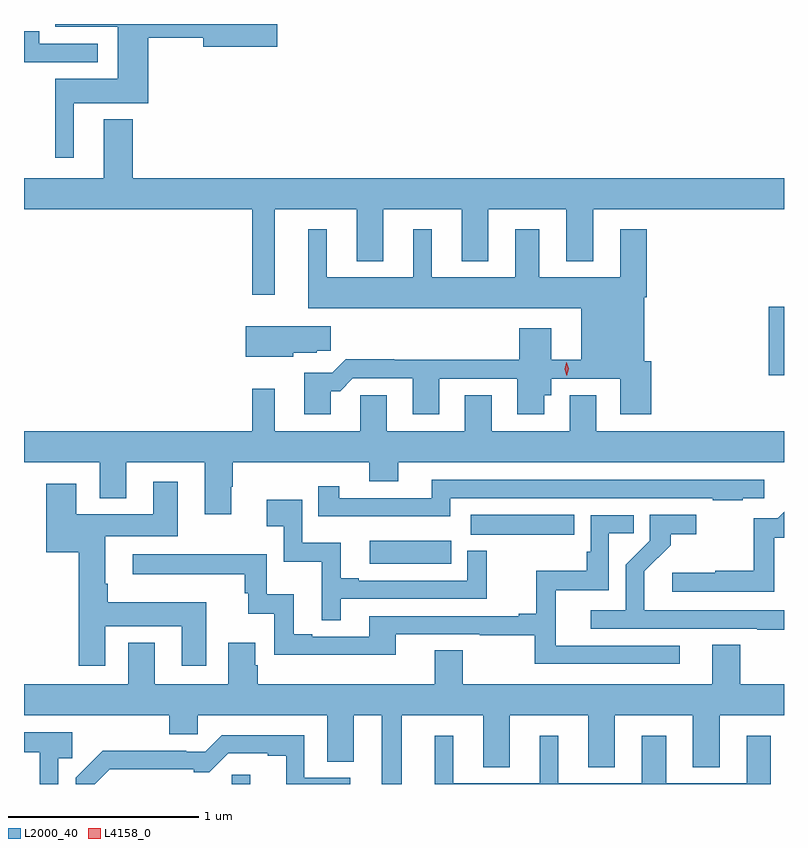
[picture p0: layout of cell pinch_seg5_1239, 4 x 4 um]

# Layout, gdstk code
import gdstk
lib = gdstk.Library(unit=1e-6, precision=1e-09)
def R(c, l, rs):  # rectangles x0, y0, x1, y1
    for r in rs: c.add(gdstk.rectangle(r[:2], r[2:], *l))
def P(c, l, *ps):  # polygons
    for p in ps: c.add(gdstk.Polygon(p, *l))
L2000_40 = (2000, 40)
L4158_0 = (4158, 0)

pinch_seg5_1239 = lib.new_cell('pinch_seg5_1239')
R(pinch_seg5_1239, L2000_40, [(446.545,863.059,446.644,863.107), (447.273,864.218,447.701,864.34), (447.804,864.371,448.349,864.475), (449.372,865.21,449.452,865.57)])
P(pinch_seg5_1239, L2000_40, [(445.714,866.642),(446.105,866.642),(446.105,866.986),(446.396,866.986),(446.396,866.939),(446.785,866.939),(446.785,867.059),(445.616,867.059),(445.616,867.045),(445.946,867.045),(445.946,866.77),(445.616,866.77),(445.616,866.355),(445.714,866.355)],
  [(445.84,866.955),(445.531,866.955),(445.531,867.022),(445.452,867.022),(445.452,866.859),(445.84,866.859)],
  [(446.773,866.084),(447.203,866.084),(447.203,865.811),(447.343,865.811),(447.343,866.084),(447.755,866.084),(447.755,865.811),(447.895,865.811),(447.895,866.084),(448.307,866.084),(448.307,865.811),(448.447,865.811),(448.447,866.084),(449.452,866.084),(449.452,866.248),(446.024,866.248),(446.024,866.557),(445.871,866.557),(445.871,866.248),(445.452,866.248),(445.452,866.084),(446.652,866.084),(446.652,865.635),(446.773,865.635)],
  [(447.067,865.127),(447.116,865.127),(447.183,865.194),(447.497,865.194),(447.497,865.005),(447.637,865.005),(447.637,865.191),(448.049,865.191),(448.049,865.005),(448.189,865.005),(448.189,865.106),(448.228,865.106),(448.228,865.191),(448.589,865.191),(448.589,865.005),(448.754,865.005),(448.754,865.284),(448.717,865.284),(448.717,865.622),(448.73,865.622),(448.73,865.978),(448.589,865.978),(448.589,865.726),(448.165,865.726),(448.165,865.978),(448.037,865.978),(448.037,865.726),(447.598,865.726),(447.598,865.978),(447.5,865.978),(447.5,865.726),(447.046,865.726),(447.046,865.978),(446.948,865.978),(446.948,865.562),(448.385,865.562),(448.385,865.292),(448.228,865.292),(448.228,865.459),(448.058,865.459),(448.058,865.292),(447.401,865.292),(447.401,865.295),(447.146,865.295),(447.075,865.224),(446.927,865.224),(446.927,865.005),(447.067,865.005)],
  [(446.868,865.328),(446.994,865.328),(446.994,865.339),(447.067,865.339),(447.067,865.468),(446.618,865.468),(446.618,865.307),(446.868,865.307)],
  [(446.542,864.624),(446.55,864.624),(446.55,864.752),(447.269,864.752),(447.269,864.653),(447.421,864.653),(447.421,864.752),(449.452,864.752),(449.452,864.916),(448.465,864.916),(448.465,865.106),(448.325,865.106),(448.325,864.916),(447.913,864.916),(447.913,865.106),(447.773,865.106),(447.773,864.916),(447.361,864.916),(447.361,865.106),(447.222,865.106),(447.222,864.916),(446.773,864.916),(446.773,865.138),(446.652,865.138),(446.652,864.916),(445.452,864.916),(445.452,864.752),(445.85,864.752),(445.85,864.563),(445.99,864.563),(445.99,864.752),(446.402,864.752),(446.402,864.48),(446.542,864.48)],
  [(447.696,864.564),(449.077,864.564),(449.077,864.552),(449.234,864.552),(449.234,864.564),(449.347,864.564),(449.347,864.66),(447.599,864.66),(447.599,864.564),(447.112,864.564),(447.112,864.625),(447.001,864.625),(447.001,864.468),(447.696,864.468)],
  [(445.879,863.888),(446.282,863.888),(446.282,863.682),(446.41,863.682),(446.41,864.016),(445.892,864.016),(445.892,864.112),(445.879,864.112),(445.879,864.362),(446.26,864.362),(446.26,864.649),(446.132,864.649),(446.132,864.478),(445.726,864.478),(445.726,864.64),(445.568,864.64),(445.568,864.278),(445.739,864.278),(445.739,863.682),(445.879,863.682)],
  [(447.118,864.033),(447.887,864.033),(447.887,864.286),(447.786,864.286),(447.786,864.129),(447.214,864.129),(447.214,864.142),(447.118,864.142),(447.118,864.328),(446.916,864.328),(446.916,864.556),(446.73,864.556),(446.73,864.416),(446.82,864.416),(446.82,864.23),(447.02,864.23),(447.02,863.92),(447.118,863.92)],
  [(449.4,864.356),(449.452,864.356),(449.452,864.493),(449.418,864.459),(449.292,864.459),(449.292,864.181),(449.091,864.181),(449.091,864.17),(448.863,864.17),(448.863,864.072),(449.4,864.072)],
  [(449.452,863.973),(448.717,863.973),(448.717,864.178),(448.855,864.316),(448.855,864.374),(448.99,864.374),(448.99,864.475),(448.746,864.475),(448.746,864.339),(448.62,864.213),(448.62,863.973),(448.434,863.973),(448.434,863.877),(449.311,863.877),(449.311,863.872),(449.452,863.872)],
  [(448.903,863.787),(448.25,863.787),(448.25,864.079),(448.53,864.079),(448.53,864.379),(448.661,864.379),(448.661,864.474),(448.434,864.474),(448.434,864.281),(448.414,864.281),(448.414,864.182),(448.147,864.182),(448.147,863.956),(448.055,863.956),(448.055,863.943),(447.269,863.943),(447.269,863.835),(446.968,863.835),(446.968,863.848),(446.872,863.848),(446.872,864.058),(446.73,864.058),(446.73,864.268),(446.025,864.268),(446.025,864.164),(446.614,864.164),(446.614,864.063),(446.632,864.063),(446.632,863.954),(446.768,863.954),(446.768,863.738),(447.409,863.738),(447.409,863.847),(447.85,863.847),(447.85,863.842),(448.14,863.842),(448.14,863.691),(448.903,863.691)],
  [(447.439,863.42),(447.869,863.42),(447.869,863.147),(448.009,863.147),(448.009,863.42),(448.421,863.42),(448.421,863.147),(448.561,863.147),(448.561,863.42),(448.973,863.42),(448.973,863.147),(449.113,863.147),(449.113,863.42),(449.452,863.42),(449.452,863.584),(449.223,863.584),(449.223,863.792),(449.075,863.792),(449.075,863.584),(447.762,863.584),(447.762,863.762),(447.614,863.762),(447.614,863.584),(446.681,863.584),(446.681,863.685),(446.668,863.685),(446.668,863.803),(446.528,863.803),(446.528,863.584),(446.14,863.584),(446.14,863.803),(446,863.803),(446,863.584),(445.452,863.584),(445.452,863.42),(446.216,863.42),(446.216,863.322),(446.367,863.322),(446.367,863.42),(447.047,863.42),(447.047,863.176),(447.187,863.176),(447.187,863.42),(447.335,863.42),(447.335,863.059),(447.439,863.059)],
  [(445.632,863.194),(445.706,863.194),(445.706,863.332),(445.452,863.332),(445.452,863.226),(445.536,863.226),(445.536,863.059),(445.632,863.059)],
  [(445.902,863.136),(446.345,863.136),(446.345,863.121),(446.427,863.121),(446.528,863.222),(446.735,863.222),(446.735,863.208),(446.831,863.208),(446.831,863.059),(447.168,863.059),(447.168,863.091),(446.928,863.091),(446.928,863.316),(446.493,863.316),(446.406,863.229),(446.306,863.229),(446.306,863.234),(445.866,863.234),(445.725,863.092),(445.725,863.059),(445.825,863.059)],
  [(449.383,863.314),(449.255,863.314),(449.255,863.062),(448.831,863.062),(448.831,863.314),(448.703,863.314),(448.703,863.062),(448.264,863.062),(448.264,863.314),(448.166,863.314),(448.166,863.062),(447.712,863.062),(447.712,863.314),(447.614,863.314),(447.614,863.059),(449.383,863.059)])
P(pinch_seg5_1239, L4158_0, [(448.309,865.209),(448.309,865.209),(448.298,865.243),(448.307,865.277),(448.307,865.278),(448.308,865.277),(448.318,865.244),(448.309,865.209)])

lib.write_gds('pinch_seg5_1239.gds')
